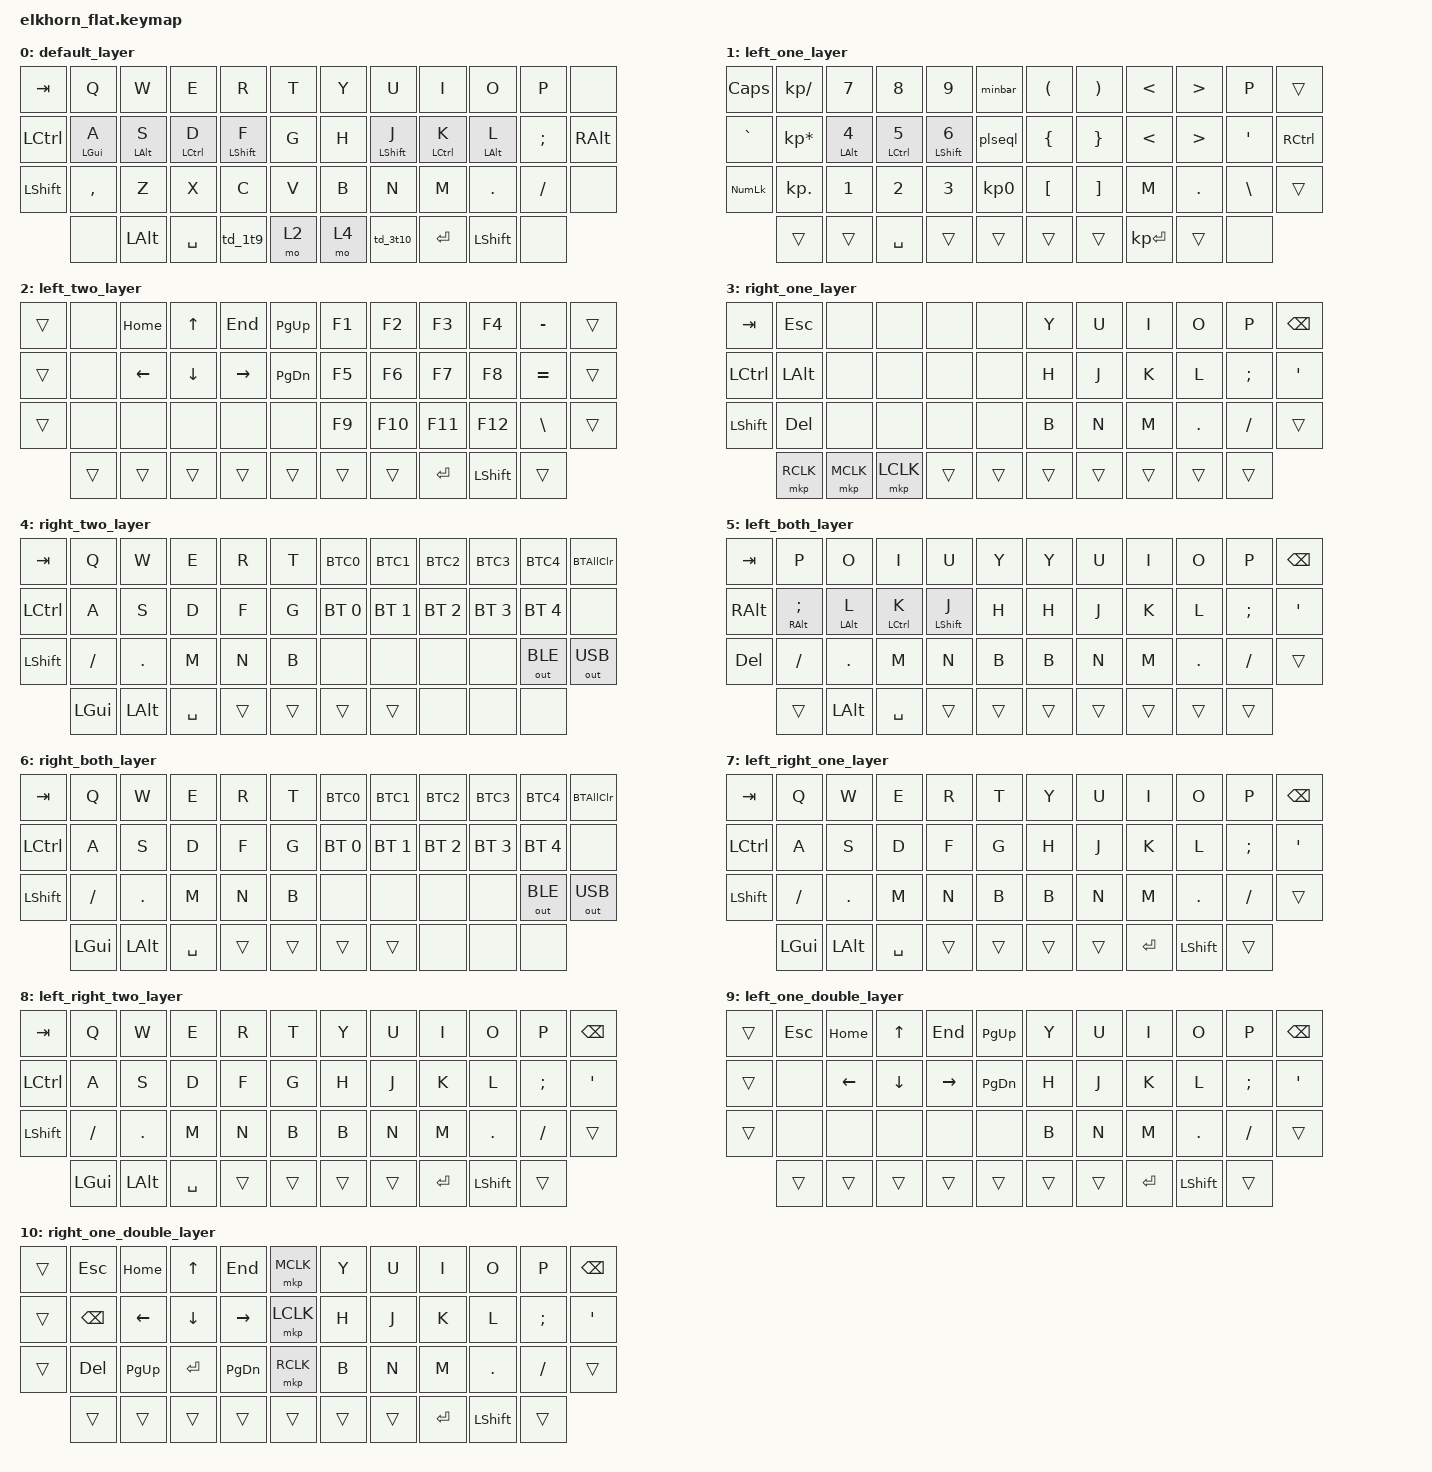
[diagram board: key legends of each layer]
/*
*
* Copyright (c) 2021 Darryl deHaan
* SPDX-License-Identifier: MIT
*
*/

#include <behaviors.dtsi>
#include <dt-bindings/zmk/keys.h>
#include <dt-bindings/zmk/outputs.h>
#include <dt-bindings/zmk/bt.h>
#include <dt-bindings/zmk/mouse.h>

#define LSH LSHFT 
#define SH LSHFT 
#define CT LCTRL 
#define RCT RCTRL 
#define AL LALT
#define RAL RALT
#define GU LGUI
#define SPC SPACE

#define VMT C_MUTE
#define VDN C_VOL_DN
#define VUP C_VOL_UP

#define KPNL KP_NUM
#define KRET KP_ENTER
#define KMUL KP_MULTIPLY
#define KDIV KP_DIVIDE
#define KPLS KP_PLUS
#define KCOM KP_COMMA

#define SM SEMI

#define HM_TAPPING_TERM 300
#define HM_TAPPING_TERM_FAST 200
#define HM_PRIOR_IDLE 0

#define COMBO_TERM_FAST 35
#define COMBO_TERM_SLOW 40
#define COMBO_PRIOR_IDLE 100


&mt {
    tapping-term-ms = <100>;
}; 
&sk {
    release-after-ms = <5000>;
    quick-release;
};
/ {
    chosen {
        zmk,matrix_transform = &default_transform;
    };
};


/ {
    behaviors {
        hm: homerow_mods {
            compatible = "zmk,behavior-hold-tap";
            label = "HOLD_TAB_HOME_ROW";
            #binding-cells = <2>;
            
            flavor = "balanced";
            tapping-term-ms = <HM_TAPPING_TERM_FAST>;
            quick-tap-ms = <0>;
            require-prior-idle-ms = <HM_PRIOR_IDLE>;

            bindings = <&kp>, <&kp>;
        };
        sht: sticky-hold-tap {
            compatible = "zmk,behavior-hold-tap";
            label = "HOLD_TAP_STICKY";
            #binding-cells = <2>;
            
            flavor = "balanced";
            tapping-term-ms = <HM_TAPPING_TERM_FAST>;
            quick-tap-ms = <0>;
            require-prior-idle-ms = <HM_PRIOR_IDLE>;

            bindings = <&sk>, <&kp>;
        };


        td_1t9: tap_dance_one_to_nine_layer {
            compatible = "zmk,behavior-tap-dance";
            label = "TAP_DANCE_ONE_TO_NINE_LAYER";
            #binding-cells = <0>;
            tapping-term-ms = <280>;
            bindings = <&mo 1>, <&mo 9>;
        };
        td_3t10: tap_dance_three_to_ten_layer {
            compatible = "zmk,behavior-tap-dance";
            label = "TAP_DANCE_THREE_TO_TEN_LAYER";
            #binding-cells = <0>;
            tapping-term-ms = <280>;
            bindings = <&mo 3>, <&mo 10>;
        };
        minbar: mod_morph_minus_underbar {
            compatible = "zmk,behavior-mod-morph";
            label="MOD_MORPH_MINUS_UNDERBAR";
            #binding-cells = <0>;
            bindings = <&kp KP_MINUS>, <&kp UNDERSCORE>;
            mods = <(MOD_LSFT)>;
        };
        plseql: mod_morph_plus_equal {
            compatible = "zmk,behavior-mod-morph";
            label="MOD_MORPH_PLUS_EQUAL";
            #binding-cells = <0>;
            bindings = <&kp KP_PLUS>, <&kp EQUAL>;
            mods = <(MOD_LSFT)>;
        };
        
    };
    
    conditional_layers {
        compatible = "zmk,conditional-layers";
        left_tri_layer {
            if-layers = <1 2>;
            then-layer = <5>;
        };
        right_tri_layer {
            if-layers = <3 4>;
            then-layer = <6>;
        };
        left_right_one_tri_layer {
            if-layers = <1 3>;
            then-layer = <7>;
        };
        left_right_two_tri_layer {
            if-layers = <2 4>;
            then-layer = <8>;
        };
    };

    macros {
        ZMK_MACRO(BTAllClr, wait-ms=<1>; tap-ms=<1>; bindings=<
            &bt BT_SEL 0  &bt BT_CLR &bt BT_SEL 1  &bt BT_CLR &bt BT_SEL 2  &bt BT_CLR 
            &bt BT_SEL 3  &bt BT_CLR &bt BT_SEL 4  &bt BT_CLR >;)
            
        ZMK_MACRO(BTC0, wait-ms=<1>; tap-ms=<1>; bindings=< &bt BT_SEL 0  &bt BT_CLR >;)
        ZMK_MACRO(BTC1, wait-ms=<1>; tap-ms=<1>; bindings=< &bt BT_SEL 1  &bt BT_CLR >;)
        ZMK_MACRO(BTC2, wait-ms=<1>; tap-ms=<1>; bindings=< &bt BT_SEL 2  &bt BT_CLR >;)
        ZMK_MACRO(BTC3, wait-ms=<1>; tap-ms=<1>; bindings=< &bt BT_SEL 3  &bt BT_CLR >;)
        ZMK_MACRO(BTC4, wait-ms=<1>; tap-ms=<1>; bindings=< &bt BT_SEL 4  &bt BT_CLR >;)
        
    };
    combos {
        compatible = "zmk,combos";
        combo_esc {
            timeout-ms = <COMBO_TERM_FAST>;
            require-prior-idle-ms = <COMBO_PRIOR_IDLE>;
            key-positions = <2 3>;
            layers = <0 1>;
            bindings = <&kp ESC>;
        };
        combo_del {
            timeout-ms = <COMBO_TERM_FAST>;
            require-prior-idle-ms = <COMBO_PRIOR_IDLE>;
            key-positions = <3 4>;
            layers = <0 1>;
            bindings = <&kp DEL>;
        };
        combo_enter {
            timeout-ms = <COMBO_TERM_FAST>;
            require-prior-idle-ms = <COMBO_PRIOR_IDLE>;
            key-positions = <14 15>;
            layers = <0 1>;
            bindings = <&kp RET>;
        };
        combo_bspc {
            timeout-ms = <COMBO_TERM_FAST>;
            require-prior-idle-ms = <COMBO_PRIOR_IDLE>;
            key-positions = <15 16>;
            layers = <0 1>;
            bindings = <&kp BSPC>;
        };
        combo_tab {
            timeout-ms = <COMBO_TERM_FAST>;
            require-prior-idle-ms = <COMBO_PRIOR_IDLE>;
            key-positions = <13 14>;
            layers = <0 1>;
            bindings = <&kp TAB>;
        };
    };

    


    keymap {
        compatible = "zmk,keymap";
        
        default_layer {
/* --------------------------------------------------------------------------------
// | 0  | 1  | 2  | 3  | 4  | 5  |      | 6  | 7  | 8  | 9  | 10 | 11 |
// | 12 | 13 | 14 | 15 | 16 | 17 |      | 18 | 19 | 20 | 21 | 22 | 23 |
// | 24 | 25 | 26 | 27 | 28 | 29 |      | 30 | 31 | 32 | 33 | 34 | 35 |
//      | 36 | 37 | 38 | 39 | 40 |      | 41 | 42 | 43 | 44 | 45 |

// |  TAB |  Q   |  W   |  E   |  R   |  T   |                     |  Y   |  U   |  I   |  O   |  P   | BKSP |
// | CTRL |  A   |  S   |  D   |  F   |  G   |                     |  H   |  J   |  K   |  L   |  ;   |  '   |
// | SHFT |  Z   |  X   |  C   |  V   |  B   |                     |  N   |  M   |  ,   |  .   |  /   | ESC  |
//               | GUI  | LWR  | GUI  | LWR  | SPC  |       | ENT  | RSE  | ALT  | LWR  | SPC  |
*/
            bindings = <
&kp TAB   &kp Q     &kp W     &kp E     &kp R     &kp T         &kp Y     &kp U     &kp I     &kp O     &kp P     &none
&kp LCTRL &hm GU A  &hm AL S  &hm CT D  &hm SH F  &kp G         &kp H     &hm SH J  &hm CT K  &hm AL L  &kp SM    &kp RALT
&kp LSH   &kp COMMA &kp Z     &kp X     &kp C     &kp V         &kp B     &kp N     &kp M     &kp DOT   &kp FSLH  &none
          &none     &kp LALT  &kp SPACE &td_1t9   &mo 2         &mo 4     &td_3t10  &kp RET   &kp SH    &none
            >;
        };

        left_one_layer { //1
/* --------------------------------------------------------------------------------
// |  TAB |  1   |  2   |  3   |  4   |  5   |                     |  Y   |  U   |  I   |  O   |  P   | BKSP |
// | CTRL |  6   |  7   |  8   |  9   |  0   |                     |  H   |  J   |  K   |  L   |  ;   |  '   |
// | SHFT |  Z   |  X   |  C   |  V   |  B   |                     |  N   |  M   |  ,   |  .   |  /   | ESC  |
//               | GUI  | LWR  | GUI  | LWR  | SPC  |       | ENT  | RSE  | ALT  | LWR  | SPC  |   
*/
            bindings = <
&kp CAPS  &kp KDIV  &kp N7    &kp N8    &kp N9    &minbar       &kp LPAR  &kp RPAR  &kp LT    &kp GT    &kp P     &trans
&kp GRAVE &kp KMUL  &sht AL N4 &sht CT N5 &sht SH N6 &plseql       &kp LBRC  &kp RBRC  &kp LT    &kp GT    &kp SQT   &kp RCTRL
&kp KPNL  &kp KP_DOT &kp N1   &kp N2    &kp N3    &kp KP_N0     &kp LBKT  &kp RBKT  &kp M     &kp DOT   &kp BSLH  &trans
          &trans    &trans    &kp SPACE &trans    &trans        &trans    &trans    &kp KRET  &trans    &none
            >;
        };
        

        left_two_layer { //2
/* --------------------------------------------------------------------------------
// |  TAB |  Q   |  W   |  E   |  R   |  T   |                     |  Y   |  U   |  I   |  O   |  P   | BKSP |
// | CTRL |  A   |  S   |  D   |  F   |  G   |                     |  H   |  J   |  K   |  L   |  ;   |  '   |
// | SHFT |  Z   |  X   |  C   |  V   |  B   |                     |  N   |  M   |  ,   |  .   |  /   | ESC  |
//               | GUI  | LWR  | GUI  | LWR  | SPC  |       | ENT  | RSE  | ALT  | LWR  | SPC  |    
*/
            bindings = <
&trans    &none     &kp HOME  &kp UP    &kp END   &kp PG_UP     &kp F1    &kp F2    &kp F3    &kp F4    &kp MINUS &trans
&trans    &none     &kp LEFT  &kp DOWN  &kp RIGHT &kp PG_DN     &kp F5    &kp F6    &kp F7    &kp F8    &kp EQUAL &trans
&trans    &none     &none     &none     &none     &none         &kp F9    &kp F10   &kp F11   &kp F12   &kp BSLH  &trans
          &trans    &trans    &trans    &trans    &trans        &trans    &trans    &kp RET   &kp LSH   &trans
            >;
        };
        
        right_one_layer { //3
/* --------------------------------------------------------------------------------
// |  TAB |  Q   |  W   |  E   |  R   |  T   |                     |  Y   |  U   |  I   |  O   |  P   | BKSP |
// | CTRL |  A   |  S   |  D   |  F   |  G   |                     |  H   |  J   |  K   |  L   |  ;   |  '   |
// | SHFT |  Z   |  X   |  C   |  V   |  B   |                     |  N   |  M   |  ,   |  .   |  /   | ESC  |
//               | GUI  | LWR  | GUI  | LWR  | SPC  |       | ENT  | RSE  | ALT  | LWR  | SPC  |  
*/
            bindings = <
&kp TAB   &kp ESC   &none     &none     &none     &none         &kp Y     &kp U     &kp I     &kp O     &kp P     &kp BSPC
&kp LCTRL &kp LALT  &none     &none     &none     &none         &kp H     &kp J     &kp K     &kp L     &kp SEMI  &kp SQT
&kp LSH   &kp DEL   &none     &none     &none     &none         &kp B     &kp N     &kp M     &kp DOT   &kp FSLH  &trans
          &mkp RCLK &mkp MCLK &mkp LCLK &trans    &trans        &trans    &trans    &trans    &trans    &trans
            >;
        };

        
        right_two_layer { //4
/* --------------------------------------------------------------------------------
// |  TAB |  Q   |  W   |  E   |  R   |  T   |                     |  Y   |  U   |  I   |  O   |  P   | BKSP |
// | CTRL |  A   |  S   |  D   |  F   |  G   |                     |  H   |  J   |  K   |  L   |  ;   |  '   |
// | SHFT |  Z   |  X   |  C   |  V   |  B   |                     |  N   |  M   |  ,   |  .   |  /   | ESC  |
//               | GUI  | LWR  | GUI  | LWR  | SPC  |       | ENT  | RSE  | ALT  | LWR  | SPC  |     
*/
            bindings = <
&kp TAB   &kp Q     &kp W     &kp E     &kp R     &kp T         &BTC0  &BTC1  &BTC2  &BTC3  &BTC4    &BTAllClr
&kp LCTRL &kp A     &kp S     &kp D     &kp F     &kp G         &bt BT_SEL 0   &bt BT_SEL 1   &bt BT_SEL 2   &bt BT_SEL 3   &bt BT_SEL 4   &none
&kp LSH   &kp FSLH  &kp DOT   &kp M     &kp N     &kp B         &none     &none     &none     &none     &out OUT_BLE     &out OUT_USB     
          &kp LGUI  &kp LALT  &kp SPACE &trans    &trans        &trans    &trans    &none     &none     &none     
            >;
        };
        
        left_both_layer {
/* --------------------------------------------------------------------------------
// |  TAB |  Q   |  W   |  E   |  R   |  T   |                     |  Y   |  U   |  I   |  O   |  P   | BKSP |
// | CTRL |  A   |  S   |  D   |  F   |  G   |                     |  H   |  J   |  K   |  L   |  ;   |  '   |
// | SHFT |  Z   |  X   |  C   |  V   |  B   |                     |  N   |  M   |  ,   |  .   |  /   | ESC  |
//               | GUI  | LWR  | GUI  | LWR  | SPC  |       | ENT  | RSE  | ALT  | LWR  | SPC  |   
*/
            bindings = <
&kp TAB   &kp P     &kp O     &kp I     &kp U     &kp Y       &kp Y     &kp U     &kp I     &kp O     &kp P     &kp BSPC
&kp RALT  &hm RAL SM &hm AL L &hm CT K &hm SH J &kp H      &kp H     &kp J     &kp K     &kp L     &kp SM  &kp SQT
&kp DEL   &kp FSLH  &kp DOT   &kp M     &kp N     &kp B       &kp B     &kp N     &kp M     &kp DOT   &kp FSLH  &trans
          &trans  &kp LALT  &kp SPACE &trans    &trans        &trans    &trans    &trans    &trans   &trans
            >;
        };

        right_both_layer {
/* --------------------------------------------------------------------------------
// |  TAB |  Q   |  W   |  E   |  R   |  T   |                     |  Y   |  U   |  I   |  O   |  P   | BKSP |
// | CTRL |  A   |  S   |  D   |  F   |  G   |                     |  H   |  J   |  K   |  L   |  ;   |  '   |
// | SHFT |  Z   |  X   |  C   |  V   |  B   |                     |  N   |  M   |  ,   |  .   |  /   | ESC  |
//               | GUI  | LWR  | GUI  | LWR  | SPC  |       | ENT  | RSE  | ALT  | LWR  | SPC  |   
*/
            bindings = <
&kp TAB   &kp Q     &kp W     &kp E     &kp R     &kp T         &BTC0  &BTC1  &BTC2  &BTC3  &BTC4    &BTAllClr
&kp LCTRL &kp A     &kp S     &kp D     &kp F     &kp G         &bt BT_SEL 0   &bt BT_SEL 1   &bt BT_SEL 2   &bt BT_SEL 3   &bt BT_SEL 4   &none
&kp LSH   &kp FSLH  &kp DOT   &kp M     &kp N     &kp B         &none     &none     &none     &none     &out OUT_BLE     &out OUT_USB     
          &kp LGUI  &kp LALT  &kp SPACE &trans    &trans        &trans    &trans    &none     &none     &none     
            >;
        };

        left_right_one_layer {
/* --------------------------------------------------------------------------------
// |  TAB |  Q   |  W   |  E   |  R   |  T   |                     |  Y   |  U   |  I   |  O   |  P   | BKSP |
// | CTRL |  A   |  S   |  D   |  F   |  G   |                     |  H   |  J   |  K   |  L   |  ;   |  '   |
// | SHFT |  Z   |  X   |  C   |  V   |  B   |                     |  N   |  M   |  ,   |  .   |  /   | ESC  |
//               | GUI  | LWR  | GUI  | LWR  | SPC  |       | ENT  | RSE  | ALT  | LWR  | SPC  |     
*/
            bindings = <
&kp TAB   &kp Q     &kp W     &kp E     &kp R     &kp T         &kp Y     &kp U     &kp I     &kp O     &kp P     &kp BSPC
&kp LCTRL &kp A     &kp S     &kp D     &kp F     &kp G         &kp H     &kp J     &kp K     &kp L     &kp SEMI  &kp SQT
&kp LSH   &kp FSLH  &kp DOT   &kp M     &kp N     &kp B         &kp B     &kp N     &kp M     &kp DOT   &kp FSLH  &trans
          &kp LGUI  &kp LALT  &kp SPACE &trans    &trans        &trans    &trans    &kp RET   &kp LSH   &trans
            >;
        };

        left_right_two_layer {
/* --------------------------------------------------------------------------------
// |  TAB |  Q   |  W   |  E   |  R   |  T   |                     |  Y   |  U   |  I   |  O   |  P   | BKSP |
// | CTRL |  A   |  S   |  D   |  F   |  G   |                     |  H   |  J   |  K   |  L   |  ;   |  '   |
// | SHFT |  Z   |  X   |  C   |  V   |  B   |                     |  N   |  M   |  ,   |  .   |  /   | ESC  |
//               | GUI  | LWR  | GUI  | LWR  | SPC  |       | ENT  | RSE  | ALT  | LWR  | SPC  |     
*/
            bindings = <
&kp TAB   &kp Q     &kp W     &kp E     &kp R     &kp T         &kp Y     &kp U     &kp I     &kp O     &kp P     &kp BSPC
&kp LCTRL &kp A     &kp S     &kp D     &kp F     &kp G         &kp H     &kp J     &kp K     &kp L     &kp SEMI  &kp SQT
&kp LSH   &kp FSLH  &kp DOT   &kp M     &kp N     &kp B         &kp B     &kp N     &kp M     &kp DOT   &kp FSLH  &trans
          &kp LGUI  &kp LALT  &kp SPACE &trans    &trans        &trans    &trans    &kp RET   &kp LSH   &trans
            >;
        };

        left_one_double_layer {
/* --------------------------------------------------------------------------------
// |  TAB |  Q   |  W   |  E   |  R   |  T   |                     |  Y   |  U   |  I   |  O   |  P   | BKSP |
// | CTRL |  A   |  S   |  D   |  F   |  G   |                     |  H   |  J   |  K   |  L   |  ;   |  '   |
// | SHFT |  Z   |  X   |  C   |  V   |  B   |                     |  N   |  M   |  ,   |  .   |  /   | ESC  |
//               | GUI  | LWR  | GUI  | LWR  | SPC  |       | ENT  | RSE  | ALT  | LWR  | SPC  |     
*/
            bindings = <
&trans    &kp ESC   &kp HOME  &kp UP    &kp END   &kp PG_UP     &kp Y     &kp U     &kp I     &kp O     &kp P     &kp BSPC
&trans    &none     &kp LEFT  &kp DOWN  &kp RIGHT &kp PG_DN     &kp H     &kp J     &kp K     &kp L     &kp SEMI  &kp SQT
&trans    &none     &none     &none     &none     &none         &kp B     &kp N     &kp M     &kp DOT   &kp FSLH  &trans
          &trans    &trans    &trans    &trans    &trans        &trans    &trans    &kp RET   &kp LSH   &trans
            >;
        };

        
        right_one_double_layer {
/* --------------------------------------------------------------------------------
// |  TAB |  Q   |  W   |  E   |  R   |  T   |                     |  Y   |  U   |  I   |  O   |  P   | BKSP |
// | CTRL |  A   |  S   |  D   |  F   |  G   |                     |  H   |  J   |  K   |  L   |  ;   |  '   |
// | SHFT |  Z   |  X   |  C   |  V   |  B   |                     |  N   |  M   |  ,   |  .   |  /   | ESC  |
//               | GUI  | LWR  | GUI  | LWR  | SPC  |       | ENT  | RSE  | ALT  | LWR  | SPC  |     
*/
            bindings = <
&trans    &kp ESC   &kp HOME  &kp UP    &kp END   &mkp MCLK     &kp Y     &kp U     &kp I     &kp O     &kp P     &kp BSPC
&trans    &kp BSPC  &kp LEFT  &kp DOWN  &kp RIGHT &mkp LCLK     &kp H     &kp J     &kp K     &kp L     &kp SEMI  &kp SQT
&trans    &kp DEL   &kp PG_UP &kp RET   &kp PG_DN &mkp RCLK     &kp B     &kp N     &kp M     &kp DOT   &kp FSLH  &trans
          &trans    &trans    &trans    &trans    &trans        &trans    &trans    &kp RET   &kp LSH   &trans
            >;
        };
    };

    
};
